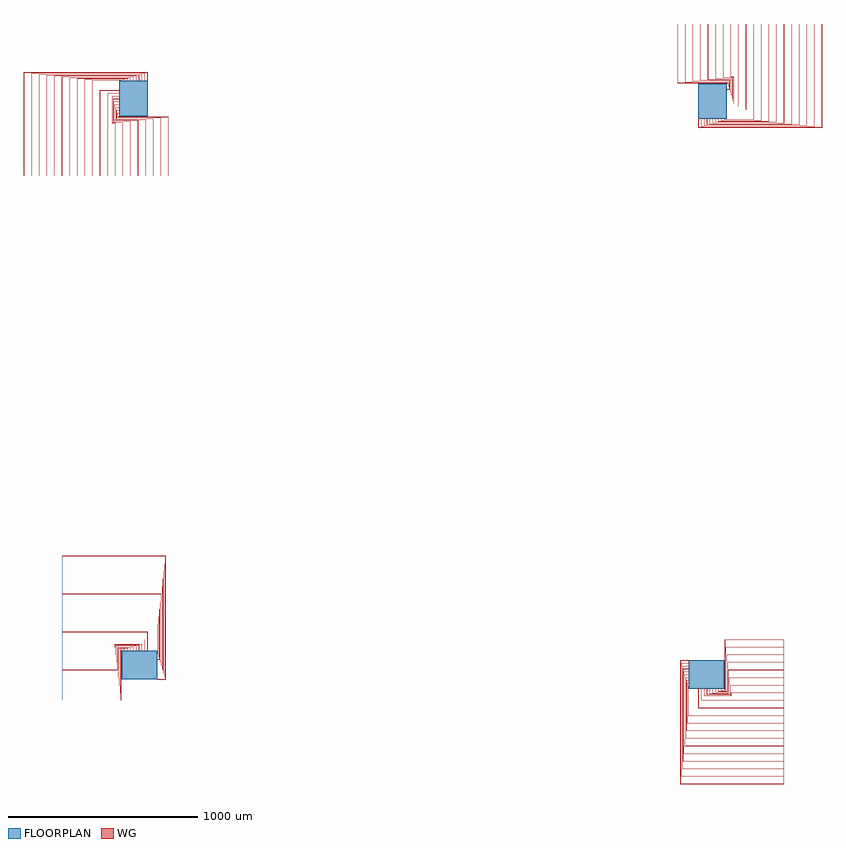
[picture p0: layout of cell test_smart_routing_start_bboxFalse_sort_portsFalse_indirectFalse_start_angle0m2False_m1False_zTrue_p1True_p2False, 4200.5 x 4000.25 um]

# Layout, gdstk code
import gdstk
lib = gdstk.Library(unit=1e-6, precision=1e-09)
def R(c, l, rs):  # rectangles x0, y0, x1, y1
    for r in rs: c.add(gdstk.rectangle(r[:2], r[2:], *l))
def P(c, l, *ps):  # polygons
    for p in ps: c.add(gdstk.Polygon(p, *l))
WG = (1, 0)
FLOORPLAN = (10, 0)

test_smart_routing_start = lib.new_cell('test_smart_routing_start_bboxFalse_sort_portsFalse_indirectFalse_start_angle0m2False_m1False_zTrue_p1True_p2False')
P(test_smart_routing_start, WG, [(2950.05,2855.3),(2950.05,2900),(2950.25,2900),(2950.25,2855.5),(3599.75,2855.5),(3599.75,3400),(3599.95,3400),(3599.95,2855.3)],
  [(2949.75,2855),(2949.75,2900),(2949.95,2900),(2949.95,2855.2),(3600.05,2855.2),(3600.05,3400),(3600.25,3400),(3600.25,2855)],
  [(2965.05,2859.8),(2965.05,2900),(2965.25,2900),(2965.25,2860),(3559.75,2860),(3559.75,3400),(3559.95,3400),(3559.95,2859.8)],
  [(2964.75,2859.5),(2964.75,2900),(2964.95,2900),(2964.95,2859.7),(3560.05,2859.7),(3560.05,3400),(3560.25,3400),(3560.25,2859.5)],
  [(2980.05,2864.3),(2980.05,2900),(2980.25,2900),(2980.25,2864.5),(3519.75,2864.5),(3519.75,3400),(3519.95,3400),(3519.95,2864.3)],
  [(2979.75,2864),(2979.75,2900),(2979.95,2900),(2979.95,2864.2),(3520.05,2864.2),(3520.05,3400),(3520.25,3400),(3520.25,2864)],
  [(2995.05,2868.8),(2995.05,2900),(2995.25,2900),(2995.25,2869),(3479.75,2869),(3479.75,3400),(3479.95,3400),(3479.95,2868.8)],
  [(2994.75,2868.5),(2994.75,2900),(2994.95,2900),(2994.95,2868.7),(3480.05,2868.7),(3480.05,3400),(3480.25,3400),(3480.25,2868.5)],
  [(3010.05,2873.3),(3010.05,2900),(3010.25,2900),(3010.25,2873.5),(3439.75,2873.5),(3439.75,3400),(3439.95,3400),(3439.95,2873.3)],
  [(3009.75,2873),(3009.75,2900),(3009.95,2900),(3009.95,2873.2),(3440.05,2873.2),(3440.05,3400),(3440.25,3400),(3440.25,2873)],
  [(3025.05,2877.8),(3025.05,2900),(3025.25,2900),(3025.25,2878),(3399.75,2878),(3399.75,3400),(3399.95,3400),(3399.95,2877.8)],
  [(3024.75,2877.5),(3024.75,2900),(3024.95,2900),(3024.95,2877.7),(3400.05,2877.7),(3400.05,3400),(3400.25,3400),(3400.25,2877.5)],
  [(3040.05,2882.3),(3040.05,2900),(3040.25,2900),(3040.25,2882.5),(3359.75,2882.5),(3359.75,3400),(3359.95,3400),(3359.95,2882.3)],
  [(3039.75,2882),(3039.75,2900),(3039.95,2900),(3039.95,2882.2),(3360.05,2882.2),(3360.05,3400),(3360.25,3400),(3360.25,2882)],
  [(3055.05,2886.8),(3055.05,2900),(3055.25,2900),(3055.25,2887),(3319.75,2887),(3319.75,3400),(3319.95,3400),(3319.95,2886.8)],
  [(3054.75,2886.5),(3054.75,2900),(3054.95,2900),(3054.95,2886.7),(3320.05,2886.7),(3320.05,3400),(3320.25,3400),(3320.25,2886.5)],
  [(3070.05,2891.3),(3070.05,2900),(3070.25,2900),(3070.25,2891.5),(3279.75,2891.5),(3279.75,3400),(3279.95,3400),(3279.95,2891.3)],
  [(3069.75,2891),(3069.75,2900),(3069.95,2900),(3069.95,2891.2),(3280.05,2891.2),(3280.05,3400),(3280.25,3400),(3280.25,2891)],
  [(3085.05,2895.8),(3085.05,2900),(3085.25,2900),(3085.25,2896),(3239.75,2896),(3239.75,3400),(3239.95,3400),(3239.95,2895.8)],
  [(3084.75,2895.5),(3084.75,2900),(3084.95,2900),(3084.95,2895.7),(3240.05,2895.7),(3240.05,3400),(3240.25,3400),(3240.25,2895.5)],
  [(3100,2950.05),(3100,2950.25),(3199.75,2950.25),(3199.75,3400),(3199.95,3400),(3199.95,2950.05)],
  [(3100,2949.75),(3100,2949.95),(3200.05,2949.95),(3200.05,3400),(3200.25,3400),(3200.25,2949.75)],
  [(3100,2965.05),(3100,2965.25),(3159.75,2965.25),(3159.75,3400),(3159.95,3400),(3159.95,2965.05)],
  [(3100,2964.75),(3100,2964.95),(3160.05,2964.95),(3160.05,3400),(3160.25,3400),(3160.25,2964.75)],
  [(3100,2980.05),(3100,2980.25),(3135.5,2980.25),(3135.5,3120.75),(3119.75,3120.75),(3119.75,3400),(3119.95,3400),(3119.95,3120.95),(3135.7,3120.95),(3135.7,2980.05)],
  [(3100,2979.75),(3100,2979.95),(3135.8,2979.95),(3135.8,3121.05),(3120.05,3121.05),(3120.05,3400),(3120.25,3400),(3120.25,3121.25),(3136,3121.25),(3136,2979.75)],
  [(3100,2995.05),(3100,2995.25),(3131,2995.25),(3131,3116.25),(3079.75,3116.25),(3079.75,3400),(3079.95,3400),(3079.95,3116.45),(3131.2,3116.45),(3131.2,2995.05)],
  [(3100,2994.75),(3100,2994.95),(3131.3,2994.95),(3131.3,3116.55),(3080.05,3116.55),(3080.05,3400),(3080.25,3400),(3080.25,3116.75),(3131.5,3116.75),(3131.5,2994.75)],
  [(3100,3010.05),(3100,3010.25),(3126.5,3010.25),(3126.5,3111.75),(3039.75,3111.75),(3039.75,3400),(3039.95,3400),(3039.95,3111.95),(3126.7,3111.95),(3126.7,3010.05)],
  [(3100,3009.75),(3100,3009.95),(3126.8,3009.95),(3126.8,3112.05),(3040.05,3112.05),(3040.05,3400),(3040.25,3400),(3040.25,3112.25),(3127,3112.25),(3127,3009.75)],
  [(3100,3025.05),(3100,3025.25),(3122,3025.25),(3122,3107.25),(2999.75,3107.25),(2999.75,3400),(2999.95,3400),(2999.95,3107.45),(3122.2,3107.45),(3122.2,3025.05)],
  [(3100,3024.75),(3100,3024.95),(3122.3,3024.95),(3122.3,3107.55),(3000.05,3107.55),(3000.05,3400),(3000.25,3400),(3000.25,3107.75),(3122.5,3107.75),(3122.5,3024.75)],
  [(3100,3040.05),(3100,3040.25),(3117.5,3040.25),(3117.5,3102.75),(2959.75,3102.75),(2959.75,3400),(2959.95,3400),(2959.95,3102.95),(3117.7,3102.95),(3117.7,3040.05)],
  [(3100,3039.75),(3100,3039.95),(3117.8,3039.95),(3117.8,3103.05),(2960.05,3103.05),(2960.05,3400),(2960.25,3400),(2960.25,3103.25),(3118,3103.25),(3118,3039.75)],
  [(3100,3055.05),(3100,3055.25),(3113,3055.25),(3113,3098.25),(2919.75,3098.25),(2919.75,3400),(2919.95,3400),(2919.95,3098.45),(3113.2,3098.45),(3113.2,3055.05)],
  [(3100,3054.75),(3100,3054.95),(3113.3,3054.95),(3113.3,3098.55),(2920.05,3098.55),(2920.05,3400),(2920.25,3400),(2920.25,3098.75),(3113.5,3098.75),(3113.5,3054.75)],
  [(3100,3070.05),(3100,3070.25),(3108.5,3070.25),(3108.5,3093.75),(2879.75,3093.75),(2879.75,3400),(2879.95,3400),(2879.95,3093.95),(3108.7,3093.95),(3108.7,3070.05)],
  [(3100,3069.75),(3100,3069.95),(3108.8,3069.95),(3108.8,3094.05),(2880.05,3094.05),(2880.05,3400),(2880.25,3400),(2880.25,3094.25),(3109,3094.25),(3109,3069.75)],
  [(3100,3085.05),(3100,3085.25),(3104,3085.25),(3104,3089.25),(2839.75,3089.25),(2839.75,3400),(2839.95,3400),(2839.95,3089.45),(3104.2,3089.45),(3104.2,3085.05)],
  [(3100,3084.75),(3100,3084.95),(3104.3,3084.95),(3104.3,3089.55),(2840.05,3089.55),(2840.05,3400),(2840.25,3400),(2840.25,3089.75),(3104.5,3089.75),(3104.5,3084.75)],
  [(-599.95,2600),(-599.95,3144.7),(49.95,3144.7),(49.95,3100),(49.75,3100),(49.75,3144.5),(-599.75,3144.5),(-599.75,2600)],
  [(-600.25,2600),(-600.25,3145),(50.25,3145),(50.25,3100),(50.05,3100),(50.05,3144.8),(-600.05,3144.8),(-600.05,2600)],
  [(-559.95,2600),(-559.95,3140.2),(34.95,3140.2),(34.95,3100),(34.75,3100),(34.75,3140),(-559.75,3140),(-559.75,2600)],
  [(-560.25,2600),(-560.25,3140.5),(35.25,3140.5),(35.25,3100),(35.05,3100),(35.05,3140.3),(-560.05,3140.3),(-560.05,2600)],
  [(-519.95,2600),(-519.95,3135.7),(19.95,3135.7),(19.95,3100),(19.75,3100),(19.75,3135.5),(-519.75,3135.5),(-519.75,2600)],
  [(-520.25,2600),(-520.25,3136),(20.25,3136),(20.25,3100),(20.05,3100),(20.05,3135.8),(-520.05,3135.8),(-520.05,2600)],
  [(-479.95,2600),(-479.95,3131.2),(4.95,3131.2),(4.95,3100),(4.75,3100),(4.75,3131),(-479.75,3131),(-479.75,2600)],
  [(-480.25,2600),(-480.25,3131.5),(5.25,3131.5),(5.25,3100),(5.05,3100),(5.05,3131.3),(-480.05,3131.3),(-480.05,2600)],
  [(-439.95,2600),(-439.95,3126.7),(-10.05,3126.7),(-10.05,3100),(-10.25,3100),(-10.25,3126.5),(-439.75,3126.5),(-439.75,2600)],
  [(-440.25,2600),(-440.25,3127),(-9.75,3127),(-9.75,3100),(-9.95,3100),(-9.95,3126.8),(-440.05,3126.8),(-440.05,2600)],
  [(-399.95,2600),(-399.95,3122.2),(-25.05,3122.2),(-25.05,3100),(-25.25,3100),(-25.25,3122),(-399.75,3122),(-399.75,2600)],
  [(-400.25,2600),(-400.25,3122.5),(-24.75,3122.5),(-24.75,3100),(-24.95,3100),(-24.95,3122.3),(-400.05,3122.3),(-400.05,2600)],
  [(-359.95,2600),(-359.95,3117.7),(-40.05,3117.7),(-40.05,3100),(-40.25,3100),(-40.25,3117.5),(-359.75,3117.5),(-359.75,2600)],
  [(-360.25,2600),(-360.25,3118),(-39.75,3118),(-39.75,3100),(-39.95,3100),(-39.95,3117.8),(-360.05,3117.8),(-360.05,2600)],
  [(-319.95,2600),(-319.95,3113.2),(-55.05,3113.2),(-55.05,3100),(-55.25,3100),(-55.25,3113),(-319.75,3113),(-319.75,2600)],
  [(-320.25,2600),(-320.25,3113.5),(-54.75,3113.5),(-54.75,3100),(-54.95,3100),(-54.95,3113.3),(-320.05,3113.3),(-320.05,2600)],
  [(-279.95,2600),(-279.95,3108.7),(-70.05,3108.7),(-70.05,3100),(-70.25,3100),(-70.25,3108.5),(-279.75,3108.5),(-279.75,2600)],
  [(-280.25,2600),(-280.25,3109),(-69.75,3109),(-69.75,3100),(-69.95,3100),(-69.95,3108.8),(-280.05,3108.8),(-280.05,2600)],
  [(-239.95,2600),(-239.95,3104.2),(-85.05,3104.2),(-85.05,3100),(-85.25,3100),(-85.25,3104),(-239.75,3104),(-239.75,2600)],
  [(-240.25,2600),(-240.25,3104.5),(-84.75,3104.5),(-84.75,3100),(-84.95,3100),(-84.95,3104.3),(-240.05,3104.3),(-240.05,2600)],
  [(-199.95,2600),(-199.95,3049.95),(-100,3049.95),(-100,3049.75),(-199.75,3049.75),(-199.75,2600)],
  [(-200.25,2600),(-200.25,3050.25),(-100,3050.25),(-100,3050.05),(-200.05,3050.05),(-200.05,2600)],
  [(-159.95,2600),(-159.95,3034.95),(-100,3034.95),(-100,3034.75),(-159.75,3034.75),(-159.75,2600)],
  [(-160.25,2600),(-160.25,3035.25),(-100,3035.25),(-100,3035.05),(-160.05,3035.05),(-160.05,2600)],
  [(-119.95,2600),(-119.95,2879.05),(-135.7,2879.05),(-135.7,3019.95),(-100,3019.95),(-100,3019.75),(-135.5,3019.75),(-135.5,2879.25),(-119.75,2879.25),(-119.75,2600)],
  [(-120.25,2600),(-120.25,2878.75),(-136,2878.75),(-136,3020.25),(-100,3020.25),(-100,3020.05),(-135.8,3020.05),(-135.8,2878.95),(-120.05,2878.95),(-120.05,2600)],
  [(-79.95,2600),(-79.95,2883.55),(-131.2,2883.55),(-131.2,3004.95),(-100,3004.95),(-100,3004.75),(-131,3004.75),(-131,2883.75),(-79.75,2883.75),(-79.75,2600)],
  [(-80.25,2600),(-80.25,2883.25),(-131.5,2883.25),(-131.5,3005.25),(-100,3005.25),(-100,3005.05),(-131.3,3005.05),(-131.3,2883.45),(-80.05,2883.45),(-80.05,2600)],
  [(-39.95,2600),(-39.95,2888.05),(-126.7,2888.05),(-126.7,2989.95),(-100,2989.95),(-100,2989.75),(-126.5,2989.75),(-126.5,2888.25),(-39.75,2888.25),(-39.75,2600)],
  [(-40.25,2600),(-40.25,2887.75),(-127,2887.75),(-127,2990.25),(-100,2990.25),(-100,2990.05),(-126.8,2990.05),(-126.8,2887.95),(-40.05,2887.95),(-40.05,2600)],
  [(0.05,2600),(0.05,2892.55),(-122.2,2892.55),(-122.2,2974.95),(-100,2974.95),(-100,2974.75),(-122,2974.75),(-122,2892.75),(0.25,2892.75),(0.25,2600)],
  [(-0.25,2600),(-0.25,2892.25),(-122.5,2892.25),(-122.5,2975.25),(-100,2975.25),(-100,2975.05),(-122.3,2975.05),(-122.3,2892.45),(-0.05,2892.45),(-0.05,2600)],
  [(40.05,2600),(40.05,2897.05),(-117.7,2897.05),(-117.7,2959.95),(-100,2959.95),(-100,2959.75),(-117.5,2959.75),(-117.5,2897.25),(40.25,2897.25),(40.25,2600)],
  [(39.75,2600),(39.75,2896.75),(-118,2896.75),(-118,2960.25),(-100,2960.25),(-100,2960.05),(-117.8,2960.05),(-117.8,2896.95),(39.95,2896.95),(39.95,2600)],
  [(80.05,2600),(80.05,2901.55),(-113.2,2901.55),(-113.2,2944.95),(-100,2944.95),(-100,2944.75),(-113,2944.75),(-113,2901.75),(80.25,2901.75),(80.25,2600)],
  [(79.75,2600),(79.75,2901.25),(-113.5,2901.25),(-113.5,2945.25),(-100,2945.25),(-100,2945.05),(-113.3,2945.05),(-113.3,2901.45),(79.95,2901.45),(79.95,2600)],
  [(120.05,2600),(120.05,2906.05),(-108.7,2906.05),(-108.7,2929.95),(-100,2929.95),(-100,2929.75),(-108.5,2929.75),(-108.5,2906.25),(120.25,2906.25),(120.25,2600)],
  [(119.75,2600),(119.75,2905.75),(-109,2905.75),(-109,2930.25),(-100,2930.25),(-100,2930.05),(-108.8,2930.05),(-108.8,2905.95),(119.95,2905.95),(119.95,2600)],
  [(160.05,2600),(160.05,2910.55),(-104.2,2910.55),(-104.2,2914.95),(-100,2914.95),(-100,2914.75),(-104,2914.75),(-104,2910.75),(160.25,2910.75),(160.25,2600)],
  [(159.75,2600),(159.75,2910.25),(-104.5,2910.25),(-104.5,2915.25),(-100,2915.25),(-100,2915.05),(-104.3,2915.05),(-104.3,2910.45),(159.95,2910.45),(159.95,2600)],
  [(100,-49.95),(100,-49.75),(144.5,-49.75),(144.5,599.75),(-400,599.75),(-400,599.95),(144.7,599.95),(144.7,-49.95)],
  [(100,-50.25),(100,-50.05),(144.8,-50.05),(144.8,600.05),(-400,600.05),(-400,600.25),(145,600.25),(145,-50.25)],
  [(100,-34.95),(100,-34.75),(140,-34.75),(140,559.75),(-400,559.75),(-400,559.95),(140.2,559.95),(140.2,-34.95)],
  [(100,-35.25),(100,-35.05),(140.3,-35.05),(140.3,560.05),(-400,560.05),(-400,560.25),(140.5,560.25),(140.5,-35.25)],
  [(100,-19.95),(100,-19.75),(135.5,-19.75),(135.5,519.75),(-400,519.75),(-400,519.95),(135.7,519.95),(135.7,-19.95)],
  [(100,-20.25),(100,-20.05),(135.8,-20.05),(135.8,520.05),(-400,520.05),(-400,520.25),(136,520.25),(136,-20.25)],
  [(100,-4.95),(100,-4.75),(131,-4.75),(131,479.75),(-400,479.75),(-400,479.95),(131.2,479.95),(131.2,-4.95)],
  [(100,-5.25),(100,-5.05),(131.3,-5.05),(131.3,480.05),(-400,480.05),(-400,480.25),(131.5,480.25),(131.5,-5.25)],
  [(100,10.05),(100,10.25),(126.5,10.25),(126.5,439.75),(-400,439.75),(-400,439.95),(126.7,439.95),(126.7,10.05)],
  [(100,9.75),(100,9.95),(126.8,9.95),(126.8,440.05),(-400,440.05),(-400,440.25),(127,440.25),(127,9.75)],
  [(100,25.05),(100,25.25),(122,25.25),(122,399.75),(-400,399.75),(-400,399.95),(122.2,399.95),(122.2,25.05)],
  [(100,24.75),(100,24.95),(122.3,24.95),(122.3,400.05),(-400,400.05),(-400,400.25),(122.5,400.25),(122.5,24.75)],
  [(100,40.05),(100,40.25),(117.5,40.25),(117.5,359.75),(-400,359.75),(-400,359.95),(117.7,359.95),(117.7,40.05)],
  [(100,39.75),(100,39.95),(117.8,39.95),(117.8,360.05),(-400,360.05),(-400,360.25),(118,360.25),(118,39.75)],
  [(100,55.05),(100,55.25),(113,55.25),(113,319.75),(-400,319.75),(-400,319.95),(113.2,319.95),(113.2,55.05)],
  [(100,54.75),(100,54.95),(113.3,54.95),(113.3,320.05),(-400,320.05),(-400,320.25),(113.5,320.25),(113.5,54.75)],
  [(100,70.05),(100,70.25),(108.5,70.25),(108.5,279.75),(-400,279.75),(-400,279.95),(108.7,279.95),(108.7,70.05)],
  [(100,69.75),(100,69.95),(108.8,69.95),(108.8,280.05),(-400,280.05),(-400,280.25),(109,280.25),(109,69.75)],
  [(100,85.05),(100,85.25),(104,85.25),(104,239.75),(-400,239.75),(-400,239.95),(104.2,239.95),(104.2,85.05)],
  [(100,84.75),(100,84.95),(104.3,84.95),(104.3,240.05),(-400,240.05),(-400,240.25),(104.5,240.25),(104.5,84.75)],
  [(49.75,100),(49.75,199.75),(-400,199.75),(-400,199.95),(49.95,199.95),(49.95,100)],
  [(50.05,100),(50.05,200.05),(-400,200.05),(-400,200.25),(50.25,200.25),(50.25,100)],
  [(34.75,100),(34.75,159.75),(-400,159.75),(-400,159.95),(34.95,159.95),(34.95,100)],
  [(35.05,100),(35.05,160.05),(-400,160.05),(-400,160.25),(35.25,160.25),(35.25,100)],
  [(19.75,100),(19.75,135.5),(-120.75,135.5),(-120.75,119.75),(-400,119.75),(-400,119.95),(-120.95,119.95),(-120.95,135.7),(19.95,135.7),(19.95,100)],
  [(20.05,100),(20.05,135.8),(-121.05,135.8),(-121.05,120.05),(-400,120.05),(-400,120.25),(-121.25,120.25),(-121.25,136),(20.25,136),(20.25,100)],
  [(-400,79.75),(-400,79.95),(-116.45,79.95),(-116.45,131.2),(4.95,131.2),(4.95,100),(4.75,100),(4.75,131),(-116.25,131),(-116.25,79.75)],
  [(-400,80.05),(-400,80.25),(-116.75,80.25),(-116.75,131.5),(5.25,131.5),(5.25,100),(5.05,100),(5.05,131.3),(-116.55,131.3),(-116.55,80.05)],
  [(-400,39.75),(-400,39.95),(-111.95,39.95),(-111.95,126.7),(-10.05,126.7),(-10.05,100),(-10.25,100),(-10.25,126.5),(-111.75,126.5),(-111.75,39.75)],
  [(-400,40.05),(-400,40.25),(-112.25,40.25),(-112.25,127),(-9.75,127),(-9.75,100),(-9.95,100),(-9.95,126.8),(-112.05,126.8),(-112.05,40.05)],
  [(-400,-0.25),(-400,-0.05),(-107.45,-0.05),(-107.45,122.2),(-25.05,122.2),(-25.05,100),(-25.25,100),(-25.25,122),(-107.25,122),(-107.25,-0.25)],
  [(-400,0.05),(-400,0.25),(-107.75,0.25),(-107.75,122.5),(-24.75,122.5),(-24.75,100),(-24.95,100),(-24.95,122.3),(-107.55,122.3),(-107.55,0.05)],
  [(-400,-40.25),(-400,-40.05),(-102.95,-40.05),(-102.95,117.7),(-40.05,117.7),(-40.05,100),(-40.25,100),(-40.25,117.5),(-102.75,117.5),(-102.75,-40.25)],
  [(-400,-39.95),(-400,-39.75),(-103.25,-39.75),(-103.25,118),(-39.75,118),(-39.75,100),(-39.95,100),(-39.95,117.8),(-103.05,117.8),(-103.05,-39.95)],
  [(-400,-80.25),(-400,-80.05),(-98.45,-80.05),(-98.45,113.2),(-55.05,113.2),(-55.05,100),(-55.25,100),(-55.25,113),(-98.25,113),(-98.25,-80.25)],
  [(-400,-79.95),(-400,-79.75),(-98.75,-79.75),(-98.75,113.5),(-54.75,113.5),(-54.75,100),(-54.95,100),(-54.95,113.3),(-98.55,113.3),(-98.55,-79.95)],
  [(-400,-120.25),(-400,-120.05),(-93.95,-120.05),(-93.95,108.7),(-70.05,108.7),(-70.05,100),(-70.25,100),(-70.25,108.5),(-93.75,108.5),(-93.75,-120.25)],
  [(-400,-119.95),(-400,-119.75),(-94.25,-119.75),(-94.25,109),(-69.75,109),(-69.75,100),(-69.95,100),(-69.95,108.8),(-94.05,108.8),(-94.05,-119.95)],
  [(-400,-160.25),(-400,-160.05),(-89.45,-160.05),(-89.45,104.2),(-85.05,104.2),(-85.05,100),(-85.25,100),(-85.25,104),(-89.25,104),(-89.25,-160.25)],
  [(-400,-159.95),(-400,-159.75),(-89.75,-159.75),(-89.75,104.5),(-84.75,104.5),(-84.75,100),(-84.95,100),(-84.95,104.3),(-89.55,104.3),(-89.55,-159.95)],
  [(2855.3,-599.95),(2855.3,49.95),(2900,49.95),(2900,49.75),(2855.5,49.75),(2855.5,-599.75),(3400,-599.75),(3400,-599.95)],
  [(2855,-600.25),(2855,50.25),(2900,50.25),(2900,50.05),(2855.2,50.05),(2855.2,-600.05),(3400,-600.05),(3400,-600.25)],
  [(2859.8,-559.95),(2859.8,34.95),(2900,34.95),(2900,34.75),(2860,34.75),(2860,-559.75),(3400,-559.75),(3400,-559.95)],
  [(2859.5,-560.25),(2859.5,35.25),(2900,35.25),(2900,35.05),(2859.7,35.05),(2859.7,-560.05),(3400,-560.05),(3400,-560.25)],
  [(2864.3,-519.95),(2864.3,19.95),(2900,19.95),(2900,19.75),(2864.5,19.75),(2864.5,-519.75),(3400,-519.75),(3400,-519.95)],
  [(2864,-520.25),(2864,20.25),(2900,20.25),(2900,20.05),(2864.2,20.05),(2864.2,-520.05),(3400,-520.05),(3400,-520.25)],
  [(2868.8,-479.95),(2868.8,4.95),(2900,4.95),(2900,4.75),(2869,4.75),(2869,-479.75),(3400,-479.75),(3400,-479.95)],
  [(2868.5,-480.25),(2868.5,5.25),(2900,5.25),(2900,5.05),(2868.7,5.05),(2868.7,-480.05),(3400,-480.05),(3400,-480.25)],
  [(2873.3,-439.95),(2873.3,-10.05),(2900,-10.05),(2900,-10.25),(2873.5,-10.25),(2873.5,-439.75),(3400,-439.75),(3400,-439.95)],
  [(2873,-440.25),(2873,-9.75),(2900,-9.75),(2900,-9.95),(2873.2,-9.95),(2873.2,-440.05),(3400,-440.05),(3400,-440.25)],
  [(2877.8,-399.95),(2877.8,-25.05),(2900,-25.05),(2900,-25.25),(2878,-25.25),(2878,-399.75),(3400,-399.75),(3400,-399.95)],
  [(2877.5,-400.25),(2877.5,-24.75),(2900,-24.75),(2900,-24.95),(2877.7,-24.95),(2877.7,-400.05),(3400,-400.05),(3400,-400.25)],
  [(2882.3,-359.95),(2882.3,-40.05),(2900,-40.05),(2900,-40.25),(2882.5,-40.25),(2882.5,-359.75),(3400,-359.75),(3400,-359.95)],
  [(2882,-360.25),(2882,-39.75),(2900,-39.75),(2900,-39.95),(2882.2,-39.95),(2882.2,-360.05),(3400,-360.05),(3400,-360.25)],
  [(2886.8,-319.95),(2886.8,-55.05),(2900,-55.05),(2900,-55.25),(2887,-55.25),(2887,-319.75),(3400,-319.75),(3400,-319.95)],
  [(2886.5,-320.25),(2886.5,-54.75),(2900,-54.75),(2900,-54.95),(2886.7,-54.95),(2886.7,-320.05),(3400,-320.05),(3400,-320.25)],
  [(2891.3,-279.95),(2891.3,-70.05),(2900,-70.05),(2900,-70.25),(2891.5,-70.25),(2891.5,-279.75),(3400,-279.75),(3400,-279.95)],
  [(2891,-280.25),(2891,-69.75),(2900,-69.75),(2900,-69.95),(2891.2,-69.95),(2891.2,-280.05),(3400,-280.05),(3400,-280.25)],
  [(2895.8,-239.95),(2895.8,-85.05),(2900,-85.05),(2900,-85.25),(2896,-85.25),(2896,-239.75),(3400,-239.75),(3400,-239.95)],
  [(2895.5,-240.25),(2895.5,-84.75),(2900,-84.75),(2900,-84.95),(2895.7,-84.95),(2895.7,-240.05),(3400,-240.05),(3400,-240.25)],
  [(2949.75,-200.25),(2949.75,-100),(2949.95,-100),(2949.95,-200.05),(3400,-200.05),(3400,-200.25)],
  [(2950.05,-199.95),(2950.05,-100),(2950.25,-100),(2950.25,-199.75),(3400,-199.75),(3400,-199.95)],
  [(2964.75,-160.25),(2964.75,-100),(2964.95,-100),(2964.95,-160.05),(3400,-160.05),(3400,-160.25)],
  [(2965.05,-159.95),(2965.05,-100),(2965.25,-100),(2965.25,-159.75),(3400,-159.75),(3400,-159.95)],
  [(2979.75,-136),(2979.75,-100),(2979.95,-100),(2979.95,-135.8),(3121.05,-135.8),(3121.05,-120.05),(3400,-120.05),(3400,-120.25),(3121.25,-120.25),(3121.25,-136)],
  [(2980.05,-135.7),(2980.05,-100),(2980.25,-100),(2980.25,-135.5),(3120.75,-135.5),(3120.75,-119.75),(3400,-119.75),(3400,-119.95),(3120.95,-119.95),(3120.95,-135.7)],
  [(2994.75,-131.5),(2994.75,-100),(2994.95,-100),(2994.95,-131.3),(3116.55,-131.3),(3116.55,-80.05),(3400,-80.05),(3400,-80.25),(3116.75,-80.25),(3116.75,-131.5)],
  [(2995.05,-131.2),(2995.05,-100),(2995.25,-100),(2995.25,-131),(3116.25,-131),(3116.25,-79.75),(3400,-79.75),(3400,-79.95),(3116.45,-79.95),(3116.45,-131.2)],
  [(3009.75,-127),(3009.75,-100),(3009.95,-100),(3009.95,-126.8),(3112.05,-126.8),(3112.05,-40.05),(3400,-40.05),(3400,-40.25),(3112.25,-40.25),(3112.25,-127)],
  [(3010.05,-126.7),(3010.05,-100),(3010.25,-100),(3010.25,-126.5),(3111.75,-126.5),(3111.75,-39.75),(3400,-39.75),(3400,-39.95),(3111.95,-39.95),(3111.95,-126.7)],
  [(3024.75,-122.5),(3024.75,-100),(3024.95,-100),(3024.95,-122.3),(3107.55,-122.3),(3107.55,-0.05),(3400,-0.05),(3400,-0.25),(3107.75,-0.25),(3107.75,-122.5)],
  [(3025.05,-122.2),(3025.05,-100),(3025.25,-100),(3025.25,-122),(3107.25,-122),(3107.25,0.25),(3400,0.25),(3400,0.05),(3107.45,0.05),(3107.45,-122.2)],
  [(3039.75,-118),(3039.75,-100),(3039.95,-100),(3039.95,-117.8),(3103.05,-117.8),(3103.05,39.95),(3400,39.95),(3400,39.75),(3103.25,39.75),(3103.25,-118)],
  [(3040.05,-117.7),(3040.05,-100),(3040.25,-100),(3040.25,-117.5),(3102.75,-117.5),(3102.75,40.25),(3400,40.25),(3400,40.05),(3102.95,40.05),(3102.95,-117.7)],
  [(3054.75,-113.5),(3054.75,-100),(3054.95,-100),(3054.95,-113.3),(3098.55,-113.3),(3098.55,79.95),(3400,79.95),(3400,79.75),(3098.75,79.75),(3098.75,-113.5)],
  [(3055.05,-113.2),(3055.05,-100),(3055.25,-100),(3055.25,-113),(3098.25,-113),(3098.25,80.25),(3400,80.25),(3400,80.05),(3098.45,80.05),(3098.45,-113.2)],
  [(3069.75,-109),(3069.75,-100),(3069.95,-100),(3069.95,-108.8),(3094.05,-108.8),(3094.05,119.95),(3400,119.95),(3400,119.75),(3094.25,119.75),(3094.25,-109)],
  [(3070.05,-108.7),(3070.05,-100),(3070.25,-100),(3070.25,-108.5),(3093.75,-108.5),(3093.75,120.25),(3400,120.25),(3400,120.05),(3093.95,120.05),(3093.95,-108.7)],
  [(3084.75,-104.5),(3084.75,-100),(3084.95,-100),(3084.95,-104.3),(3089.55,-104.3),(3089.55,159.95),(3400,159.95),(3400,159.75),(3089.75,159.75),(3089.75,-104.5)],
  [(3085.05,-104.2),(3085.05,-100),(3085.25,-100),(3085.25,-104),(3089.25,-104),(3089.25,160.25),(3400,160.25),(3400,160.05),(3089.45,160.05),(3089.45,-104.2)])
R(test_smart_routing_start, FLOORPLAN, [(2900,-100,3085,50), (-85,-50,100,100), (2950,2900,3100,3085), (-100,2915,50,3100)])
P(test_smart_routing_start, FLOORPLAN, [(-400,-160),(-400,600),(-400,600),(-400,-160)],
  [(-600,2600),(-600,2600),(160,2600),(160,2600)],
  [(3400,-600),(3400,160),(3400,160),(3400,-600)],
  [(2840,3400),(2840,3400),(3600,3400),(3600,3400)])

lib.write_gds('test_smart_routing_start_bboxFalse_sort_portsFalse_indirectFalse_start_angle0m2False_m1False_zTrue_p1True_p2False.gds')
